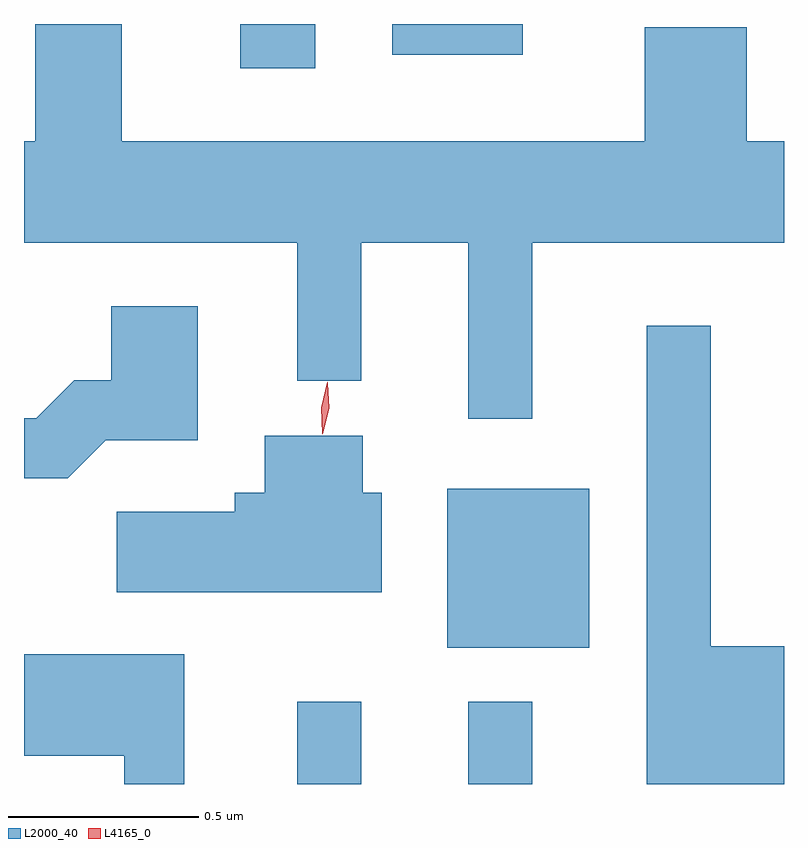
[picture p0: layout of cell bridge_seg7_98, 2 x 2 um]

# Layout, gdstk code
import gdstk
lib = gdstk.Library(unit=1e-6, precision=1e-09)
def R(c, l, rs):  # rectangles x0, y0, x1, y1
    for r in rs: c.add(gdstk.rectangle(r[:2], r[2:], *l))
def P(c, l, *ps):  # polygons
    for p in ps: c.add(gdstk.Polygon(p, *l))
L2000_40 = (2000, 40)
L4165_0 = (4165, 0)

bridge_seg7_98 = lib.new_cell('bridge_seg7_98')
R(bridge_seg7_98, L2000_40, [(1652.721,1741.752,1652.889,1741.968), (1653.171,1741.752,1653.339,1741.968), (1653.116,1742.111,1653.489,1742.529), (1652.571,1743.636,1652.769,1743.752), (1652.971,1743.671,1653.314,1743.752)])
P(bridge_seg7_98, L2000_40, [(1653.339,1743.176),(1654.002,1743.176),(1654.002,1743.444),(1653.904,1743.444),(1653.904,1743.744),(1653.636,1743.744),(1653.636,1743.444),(1652.259,1743.444),(1652.259,1743.752),(1652.031,1743.752),(1652.031,1743.444),(1652.002,1743.444),(1652.002,1743.176),(1652.721,1743.176),(1652.721,1742.813),(1652.889,1742.813),(1652.889,1743.176),(1653.171,1743.176),(1653.171,1742.713),(1653.339,1742.713)],
  [(1652.217,1742.656),(1652.459,1742.656),(1652.459,1743.009),(1652.231,1743.009),(1652.231,1742.814),(1652.134,1742.814),(1652.034,1742.714),(1652.002,1742.714),(1652.002,1742.556),(1652.117,1742.556)],
  [(1654.002,1742.114),(1653.809,1742.114),(1653.809,1742.958),(1653.641,1742.958),(1653.641,1741.752),(1654.002,1741.752)],
  [(1652.944,1742.519),(1652.894,1742.519),(1652.894,1742.669),(1652.636,1742.669),(1652.636,1742.519),(1652.556,1742.519),(1652.556,1742.469),(1652.246,1742.469),(1652.246,1742.256),(1652.944,1742.256)],
  [(1652.424,1742.094),(1652.002,1742.094),(1652.002,1741.826),(1652.266,1741.826),(1652.266,1741.752),(1652.424,1741.752)])
P(bridge_seg7_98, L4165_0, [(1652.788,1742.673),(1652.787,1742.674),(1652.784,1742.742),(1652.8,1742.809),(1652.801,1742.809),(1652.801,1742.809),(1652.804,1742.74),(1652.788,1742.674)],
  [(1652.79,1742.677),(1652.79,1742.678),(1652.785,1742.743),(1652.8,1742.806),(1652.801,1742.806),(1652.801,1742.806),(1652.805,1742.741),(1652.79,1742.678)])

lib.write_gds('bridge_seg7_98.gds')
